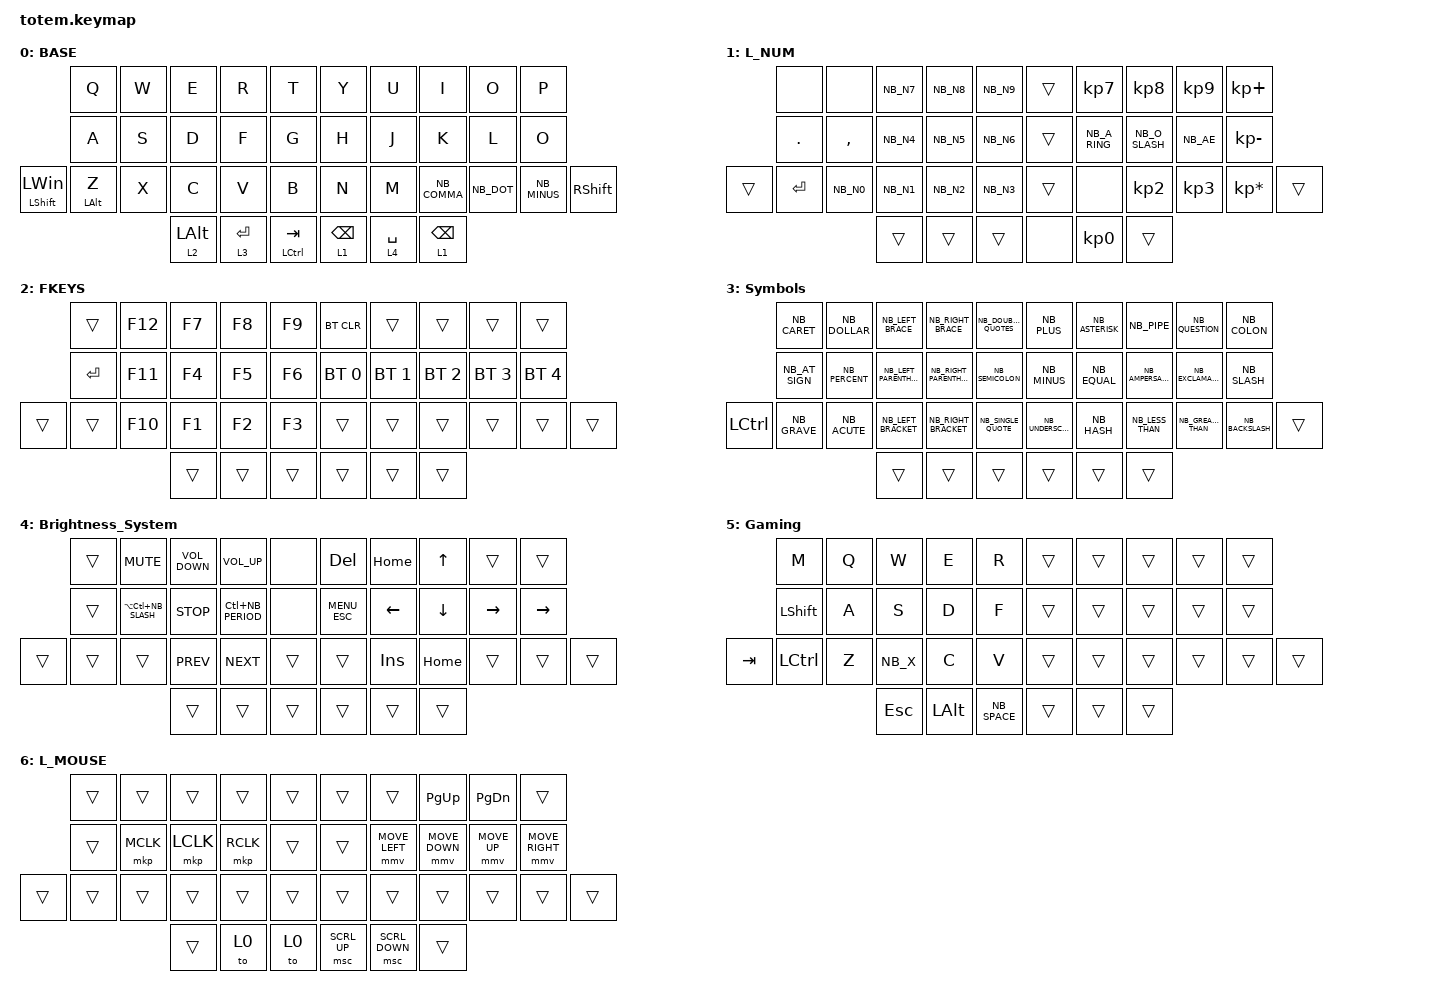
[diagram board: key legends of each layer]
//
//                                                        ▀▀▀▀▀     ▀▀▀▀▀          ▀▀█▀▀
//                                                        ▄▀▀▀▄  ▄  ▄▀▀▀▄  ▄  ▄▀▀▀▄  █  ▄▀▀▀▄
//                                                        █   █  █  █   █  █  █   █  █  █   █
//                                                         ▀▀▀   █   ▀▀▀   █   ▀▀▀   ▀   ▀▀▀
//                                                               █      ▄▄▄█▄▄▄    █   █  
//                                                               ▀      █  █  █     █▄█
//                                                             ▀▀▀▀▀    █  █  █      ▀
//                                                                      ▀  ▀  ▀
//
// ▄▄▄▄▄▄▄▄▄▄▄▄▄▄▄▄▄▄▄▄▄▄▄▄▄▄▄▄▄▄▄▄▄▄▄▄▄▄▄▄▄▄▄▄▄▄▄▄▄▄▄▄▄▄▄▄▄▄▄▄▄▄▄▄▄▄▄▄▄▄▄▄▄▄▄▄▄▄▄▄▄▄▄▄▄▄▄▄▄▄▄▄▄▄▄▄▄▄▄▄▄▄▄▄▄▄▄▄▄▄▄▄▄▄▄▄▄▄▄▄▄▄▄▄▄▄▄▄▄▄▄▄▄▄▄▄▄▄▄▄▄▄▄▄▄▄▄▄▄

#include "keys_nb.h"
#include <behaviors.dtsi>
#include <dt-bindings/zmk/bt.h>
#include <dt-bindings/zmk/keys.h>
#include <dt-bindings/zmk/pointing.h>

#define BASE 0
#define NAV  1
#define SYM  2
#define ADJ  3
#define TVP1 4
#define TVP2 5

&mt {
    quick-tap-ms = <175>;
    global-quick-tap;
    flavor = "balanced";
    tapping-term-ms = <280>;
    require-prior-idle-ms = <150>;
    hold-trigger-on-release;
    hold-trigger-key-positions = <32 33 34 35 36 37 0 1 2 3 4 5 6 7 8 9 10 11 12 13 14 15 16 17 18 19 20 21 22 23 24 25 26 27 28 29 30 31 32 33 34 35 36 37>;
};

/ {
    combos {
        compatible = "zmk,combos";

        combo_esc {
            key-positions = <1 2>;
            bindings = <&kp ESC>;
            layers = <0>;
            require-prior-idle-ms = <150>;
            timeout-ms = <20>;
        };

        BraceOpen {
            bindings = <&kp NB_LEFT_BRACE>;
            key-positions = <27 28>;
            layers = <0>;
            require-prior-idle-ms = <150>;
            timeout-ms = <20>;
        };

        BraceClose {
            bindings = <&kp NB_RIGHT_BRACE>;
            key-positions = <29 28>;
            layers = <0>;
            require-prior-idle-ms = <150>;
            timeout-ms = <20>;
        };

        BracketOpen {
            bindings = <&kp NB_LEFT_BRACKET>;
            key-positions = <27 28>;
            layers = <1>;
            require-prior-idle-ms = <150>;
            timeout-ms = <20>;
        };

        BracketClose {
            bindings = <&kp NB_RIGHT_BRACKET>;
            key-positions = <28 29>;
            layers = <1>;
            require-prior-idle-ms = <150>;
            timeout-ms = <20>;
        };

        ParentOpen {
            bindings = <&kp NB_LEFT_PARENTHESIS>;
            key-positions = <16 17>;
            layers = <0>;
            require-prior-idle-ms = <150>;
            timeout-ms = <20>;
        };

        ParentClose {
            bindings = <&kp NB_RIGHT_PARENTHESIS>;
            key-positions = <17 18>;
            layers = <0>;
            require-prior-idle-ms = <150>;
            timeout-ms = <20>;
        };

        CrocOpen {
            bindings = <&kp NB_LESS_THAN>;
            key-positions = <17 16>;
            layers = <1>;
            require-prior-idle-ms = <150>;
            timeout-ms = <20>;
        };

        CrocClose {
            bindings = <&kp NB_GREATER_THAN>;
            key-positions = <17 18>;
            layers = <1>;
            require-prior-idle-ms = <150>;
            timeout-ms = <20>;
        };

        Underscore {
            bindings = <&kp NB_UNDERSCORE>;
            key-positions = <26 15>;
            layers = <0>;
            require-prior-idle-ms = <150>;
            timeout-ms = <20>;
        };

        Hat {
            bindings = <&kp NB_CARET>;
            key-positions = <15 5>;
            layers = <0>;
            require-prior-idle-ms = <150>;
            timeout-ms = <20>;
        };

        plus {
            bindings = <&kp NB_PLUS>;
            key-positions = <6 16>;
            layers = <0>;
            require-prior-idle-ms = <150>;
            timeout-ms = <20>;
        };

        minus {
            bindings = <&kp NB_MINUS>;
            key-positions = <16 27>;
            layers = <0>;
            require-prior-idle-ms = <150>;
            timeout-ms = <20>;
        };

        Star {
            bindings = <&kp NB_STAR>;
            key-positions = <7 17>;
            layers = <0>;
            require-prior-idle-ms = <150>;
            timeout-ms = <20>;
        };

        Equal {
            bindings = <&kp NB_EQUAL>;
            key-positions = <24 13>;
            layers = <0>;
            require-prior-idle-ms = <150>;
            timeout-ms = <20>;
        };

        Pipe {
            bindings = <&kp NB_PIPE>;
            key-positions = <18 29>;
            layers = <0>;
            require-prior-idle-ms = <150>;
            timeout-ms = <20>;
        };

        Ampersand {
            bindings = <&kp NB_AMPERSAND>;
            key-positions = <18 8>;
            layers = <0>;
            require-prior-idle-ms = <150>;
            timeout-ms = <20>;
        };

        Dollar {
            bindings = <&kp NB_DOLLAR>;
            key-positions = <3 13>;
            layers = <0>;
            require-prior-idle-ms = <150>;
            timeout-ms = <20>;
        };

        Percent {
            bindings = <&kp NB_PERCENT>;
            key-positions = <4 14>;
            layers = <0>;
            require-prior-idle-ms = <150>;
            timeout-ms = <20>;
        };

        Gaming {
            bindings = <&gaming 5 0>;
            key-positions = <21 22>;
            layers = <0 5>;
            require-prior-idle-ms = <150>;
            timeout-ms = <20>;
        };

        FwdSlash {
            bindings = <&kp NB_SLASH>;
            key-positions = <17 28>;
            require-prior-idle-ms = <150>;
            timeout-ms = <20>;
            layers = <0>;
        };

        BwdSlash {
            bindings = <&kp NB_BACKSLASH>;
            key-positions = <12 23>;
            layers = <0>;
            require-prior-idle-ms = <150>;
            timeout-ms = <20>;
        };

        HashTag {
            bindings = <&kp NB_HASH>;
            key-positions = <2 12>;
            require-prior-idle-ms = <150>;
            layers = <0>;
            timeout-ms = <20>;
        };

        At {
            bindings = <&kp NB_AT_SIGN>;
            key-positions = <1 11>;
            require-prior-idle-ms = <150>;
            layers = <0>;
            timeout-ms = <20>;
        };

        Tab {
            bindings = <&kp TAB>;
            key-positions = <11 12>;
            require-prior-idle-ms = <150>;
            timeout-ms = <20>;
            layers = <0>;
        };

        Tilde {
            bindings = <&kp NB_TILDE>;
            key-positions = <14 25>;
            layers = <0>;
            require-prior-idle-ms = <150>;
            timeout-ms = <20>;
        };

        Trophy {
            bindings = <&kp NB_GRAVE>;
            key-positions = <22 11>;
            layers = <0>;
            require-prior-idle-ms = <150>;
            timeout-ms = <20>;
        };

        Backspace {
            bindings = <&kp BACKSPACE>;
            key-positions = <13 11>;
            layers = <0>;
            require-prior-idle-ms = <150>;
            timeout-ms = <20>;
        };

        Delete {
            bindings = <&kp DELETE>;
            key-positions = <8 7>;
            layers = <0>;
            require-prior-idle-ms = <150>;
            timeout-ms = <20>;
        };

        MouseLayer {
            bindings = <&tog 6>;
            key-positions = <8 6>;
            layers = <0>;
            require-prior-idle-ms = <150>;
            timeout-ms = <20>;
        };

        Enter {
            bindings = <&kp ENTER>;
            key-positions = <2 3>;
            timeout-ms = <20>;
            require-prior-idle-ms = <150>;
            layers = <0>;
        };

        Delete2 {
            bindings = <&kp DELETE>;
            key-positions = <3 1>;
            timeout-ms = <20>;
            require-prior-idle-ms = <150>;
            layers = <0>;
        };

        Home {
            bindings = <&kp HOME>;
            key-positions = <24 22>;
            layers = <0>;
            timeout-ms = <20>;
            require-prior-idle-ms = <150>;
        };
    };

    macros {
        gif: gif {
            label = "giphy";
            compatible = "zmk,behavior-macro";
            #binding-cells = <0>;
            bindings =
                <&macro_press>,
                <&kp LSHFT>,
                <&macro_tap>,
                <&kp N2>,
                <&macro_release>,
                <&kp LSHFT>,
                <&macro_tap>,
                <&kp G &kp I &kp F>;
        };
    };

    behaviors {
        gaming: gaming {
            compatible = "zmk,behavior-hold-tap";
            label = "GAMING";
            #binding-cells = <2>;
            bindings = <&to>, <&to>;

            tapping-term-ms = <175>;
            flavor = "balanced";
        };

        mmQuestionExplemation: mmQuestionExplemation {
            compatible = "zmk,behavior-mod-morph";
            label = "MMQUESTIONEXPLEMATION";
            bindings = <&kp NB_QUESTION>, <&kp NB_EXCLAMATION>;

            #binding-cells = <0>;
            mods = <(MOD_LSFT)>;
        };

        mmquote: mmquote {
            compatible = "zmk,behavior-mod-morph";
            label = "MMQUOTE";
            bindings = <&kp NB_SQT>, <&kp NB_DOUBLE_QUOTES>;

            #binding-cells = <0>;
            mods = <(MOD_LSFT)>;
        };

        backspace_layerswitch: backspace_layerswitch {
            compatible = "zmk,behavior-tap-dance";
            label = "BACKSPACE_LAYERSWITCH";
            #binding-cells = <0>;
            bindings = <&lt 3 BACKSPACE>, <&kp BACKSPACE>;
        };

        testbeh: testbeh {
            compatible = "zmk,behavior-hold-tap";
            label = "TESTBEH";
            bindings = <&mo>, <&kp>;

            #binding-cells = <2>;
            tapping-term-ms = <200>;
            flavor = "tap-preferred";
            quick-tap-ms = <150>;
        };

        bmt: bmt {
            compatible = "zmk,behavior-hold-tap";
            label = "BMT";
            bindings = <&kp>, <&kp>;

            #binding-cells = <2>;
            tapping-term-ms = <150>;
        };
    };

    keymap {
        compatible = "zmk,keymap";

        // ▄▄▄▄▄▄▄▄▄▄▄▄▄▄▄▄▄▄▄▄▄▄▄▄▄▄▄▄▄▄▄▄▄▄▄▄▄▄▄▄▄▄▄▄▄▄▄▄▄▄▄▄▄▄▄▄▄▄▄▄▄▄▄▄▄▄▄▄▄▄▄▄▄▄▄▄▄▄▄▄▄▄▄▄▄▄▄▄▄▄▄▄▄▄▄▄▄▄▄▄▄▄▄▄▄▄▄▄▄▄▄▄▄▄▄▄▄▄▄▄▄▄▄▄▄▄▄▄▄▄▄▄▄▄▄▄▄▄▄▄▄▄▄▄▄▄▄▄▄

        base_layer {
            // ┏━━━━━━━━━━━━━━━━━━━━━━━━━━━━━━━━━━━━━━━┓

            label = "BASE";

            // ┗━━━━━━━━━━━━━━━━━━━━━━━━━━━━━━━━━━━━━━━┛
            //             ┏━━━━━━━━━━━┳━━━━━━━━━━━┳━━━━━━━━━━━┳━━━━━━━━━━━┳━━━━━━━━━━━┓   ┏━━━━━━━━━━━┳━━━━━━━━━━━┳━━━━━━━━━━━┳━━━━━━━━━━━┳━━━━━━━━━━━┓
            //             ┃     Q     ┃     W     ┃     F     ┃     P     ┃     G     ┃   ┃     J     ┃     L     ┃     U     ┃     Y     ┃     ;     ┃
            //             ┣━━━━━━━━━━━╋━━━━━━━━━━━╋━━━━━━━━━━━╋━━━━━━━━━━━╋━━━━━━━━━━━┫   ┣━━━━━━━━━━━╋━━━━━━━━━━━╋━━━━━━━━━━━╋━━━━━━━━━━━╋━━━━━━━━━━━┫
            //             ┃     A     ┃     R     ┃     S     ┃     T     ┃     D     ┃   ┃     H     ┃     N     ┃     E     ┃     I     ┃     O     ┃
            // ┏━━━━━━━━━━━╋━━━━━━━━━━━╋━━━━━━━━━━━╋━━━━━━━━━━━╋━━━━━━━━━━━╋━━━━━━━━━━━┫   ┣━━━━━━━━━━━╋━━━━━━━━━━━╋━━━━━━━━━━━╋━━━━━━━━━━━╋━━━━━━━━━━━╋━━━━━━━━━━━┓
            // ┃     Q     ┃     Z     ┃     X     ┃     C     ┃     V     ┃     B     ┃   ┃     K     ┃     M     ┃     ,     ┃     .     ┃     /     ┃     \     ┃
            // ┗━━━━━━━━━━━┻━━━━━━━━━━━┻━━━━━━━━━━━╋━━━━━━━━━━━╋━━━━━━━━━━━╋━━━━━━━━━━━┫   ┣━━━━━━━━━━━╋━━━━━━━━━━━╋━━━━━━━━━━━╋━━━━━━━━━━━┻━━━━━━━━━━━┻━━━━━━━━━━━┛
            //                                     ┃    DEL    ┃    TAB    ┃    SPC    ┃   ┃   ENTER   ┃           ┃   BSPC    ┃
            //                                     ┗━━━━━━━━━━━┻━━━━━━━━━━━┻━━━━━━━━━━━┛   ┗━━━━━━━━━━━┻━━━━━━━━━━━┻━━━━━━━━━━━┛

            bindings = <
                         &kp Q           &kp W  &kp E           &kp R             &kp T                   &kp Y            &kp U        &kp I            &kp O       &kp P
                         &kp A           &kp S  &kp D           &kp F             &kp G                   &kp H            &kp J        &kp K            &kp L       &kp O
&mt LEFT_SHIFT LEFT_WIN  &mt LEFT_ALT Z  &kp X  &kp C           &kp V             &kp B                   &kp N            &kp M        &kp NB_COMMA     &kp NB_DOT  &kp NB_MINUS  &kp RIGHT_SHIFT
                                                &lt 2 LEFT_ALT  &testbeh 3 ENTER  &mt LEFT_CONTROL TAB    &lt 1 BACKSPACE  &lt 4 SPACE  &lt 1 BACKSPACE
            >;
        };

        Num {
            // ┏━━━━━━━━━━━━━━━━━━━━━━━━━━━━━━━━━━━━━━━┓

            label = "L_NUM";

            // ┗━━━━━━━━━━━━━━━━━━━━━━━━━━━━━━━━━━━━━━━┛
            //             ┏━━━━━━━━━━━┳━━━━━━━━━━━┳━━━━━━━━━━━┳━━━━━━━━━━━┳━━━━━━━━━━━┓   ┏━━━━━━━━━━━┳━━━━━━━━━━━┳━━━━━━━━━━━┳━━━━━━━━━━━┳━━━━━━━━━━━┓
            //             ┃           ┃           ┃     UP    ┃           ┃     {     ┃   ┃     }     ┃     7     ┃     8     ┃     9     ┃     +     ┃
            //             ┣━━━━━━━━━━━╋━━━━━━━━━━━╋━━━━━━━━━━━╋━━━━━━━━━━━╋━━━━━━━━━━━┫   ┣━━━━━━━━━━━╋━━━━━━━━━━━╋━━━━━━━━━━━╋━━━━━━━━━━━╋━━━━━━━━━━━┫
            //             ┃   SHIFT   ┃   LEFT    ┃    DOWN   ┃   RIGHT   ┃     [     ┃   ┃     ]     ┃     4     ┃     5     ┃     6     ┃     -     ┃
            // ┏━━━━━━━━━━━╋━━━━━━━━━━━╋━━━━━━━━━━━╋━━━━━━━━━━━╋━━━━━━━━━━━╋━━━━━━━━━━━┫   ┣━━━━━━━━━━━╋━━━━━━━━━━━╋━━━━━━━━━━━╋━━━━━━━━━━━╋━━━━━━━━━━━╋━━━━━━━━━━━┓
            // ┃           ┃           ┃   P UP    ┃  C LOCK   ┃  P DOWN   ┃     (     ┃   ┃     )     ┃     1     ┃     2     ┃     3     ┃     *     ┃           ┃
            // ┗━━━━━━━━━━━┻━━━━━━━━━━━┻━━━━━━━━━━━╋━━━━━━━━━━━╋━━━━━━━━━━━╋━━━━━━━━━━━┫   ┣━━━━━━━━━━━╋━━━━━━━━━━━╋━━━━━━━━━━━╋━━━━━━━━━━━┻━━━━━━━━━━━┻━━━━━━━━━━━┛
            //                                     ┃           ┃    TAB    ┃    SPC    ┃   ┃    DEL    ┃     0     ┃           ┃
            //                                     ┗━━━━━━━━━━━┻━━━━━━━━━━━┻━━━━━━━━━━━┛   ┗━━━━━━━━━━━┻━━━━━━━━━━━┻━━━━━━━━━━━┛

            bindings = <
        &none       &none      &kp NB_N7  &kp NB_N8  &kp NB_N9    &trans  &kp KP_N7      &kp KP_N8       &kp KP_N9  &kp KP_PLUS
        &kp PERIOD  &kp COMMA  &kp NB_N4  &kp NB_N5  &kp NB_N6    &trans  &kp NB_A_RING  &kp NB_O_SLASH  &kp NB_AE  &kp KP_MINUS
&trans  &kp ENTER   &kp NB_N0  &kp NB_N1  &kp NB_N2  &kp NB_N3    &trans  &none          &kp KP_N2       &kp KP_N3  &kp KP_MULTIPLY  &trans
                               &trans     &trans     &trans       &none   &kp KP_N0      &trans
            >;
        };

        FKEYS {
            bindings = <
        &trans     &kp F12  &kp F7  &kp F8  &kp F9    &bt BT_CLR    &trans        &trans        &trans        &trans
        &kp ENTER  &kp F11  &kp F4  &kp F5  &kp F6    &bt BT_SEL 0  &bt BT_SEL 1  &bt BT_SEL 2  &bt BT_SEL 3  &bt BT_SEL 4
&trans  &trans     &kp F10  &kp F1  &kp F2  &kp F3    &trans        &trans        &trans        &trans        &trans        &trans
                            &trans  &trans  &trans    &trans        &trans        &trans
            >;
        };

        Symbols {
            bindings = <
           &kp NB_CARET    &kp NB_DOLLAR   &kp NB_LEFT_BRACE        &kp NB_RIGHT_BRACE        &kp NB_DOUBLE_QUOTES    &kp NB_PLUS        &kp NB_ASTERISK  &kp NB_PIPE       &kp NB_QUESTION      &kp NB_COLON
           &kp NB_AT_SIGN  &kp NB_PERCENT  &kp NB_LEFT_PARENTHESIS  &kp NB_RIGHT_PARENTHESIS  &kp NB_SEMICOLON        &kp NB_MINUS       &kp NB_EQUAL     &kp NB_AMPERSAND  &kp NB_EXCLAMATION   &kp NB_SLASH
&kp LCTRL  &kp NB_GRAVE    &kp NB_ACUTE    &kp NB_LEFT_BRACKET      &kp NB_RIGHT_BRACKET      &kp NB_SINGLE_QUOTE     &kp NB_UNDERSCORE  &kp NB_HASH      &kp NB_LESS_THAN  &kp NB_GREATER_THAN  &kp NB_BACKSLASH  &trans
                                           &trans                   &trans                    &trans                  &trans             &trans           &trans
            >;
        };

        Brightness_System {
            bindings = <
        &trans  &kp C_MUTE            &kp C_VOLUME_DOWN  &kp C_VOLUME_UP    &none     &kp DELETE      &kp HOME        &kp UP_ARROW    &trans     &trans
        &trans  &kp LA(LC(NB_SLASH))  &kp C_STOP         &kp LC(NB_PERIOD)  &none     &kp C_MENU_ESC  &kp LEFT_ARROW  &kp DOWN_ARROW  &kp RIGHT  &kp RIGHT
&trans  &trans  &trans                &kp C_PREV         &kp C_NEXT         &trans    &trans          &kp INSERT      &kp HOME        &trans     &trans     &trans
                                      &trans             &trans             &trans    &trans          &trans          &trans
            >;
        };

        Gaming {
            bindings = <
         &kp M      &kp Q  &kp W       &kp E         &kp R           &trans  &trans  &trans  &trans  &trans
         &kp LSHFT  &kp A  &kp S       &kp D         &kp F           &trans  &trans  &trans  &trans  &trans
&kp TAB  &kp LCTRL  &kp Z  &kp NB_X    &kp C         &kp V           &trans  &trans  &trans  &trans  &trans  &trans
                           &kp ESCAPE  &kp LEFT_ALT  &kp NB_SPACE    &trans  &trans  &trans
            >;
        };

        Mouse {
            bindings = <
        &trans  &trans     &trans     &trans     &trans    &trans        &trans          &kp PAGE_UP     &kp PAGE_DOWN  &trans
        &trans  &mkp MCLK  &mkp LCLK  &mkp RCLK  &trans    &trans        &mmv MOVE_LEFT  &mmv MOVE_DOWN  &mmv MOVE_UP   &mmv MOVE_RIGHT
&trans  &trans  &trans     &trans     &trans     &trans    &trans        &trans          &trans          &trans         &trans           &trans
                           &trans     &to 0      &to 0     &msc SCRL_UP  &msc SCRL_DOWN  &trans
            >;

            label = "L_MOUSE";
        };
    };
};
